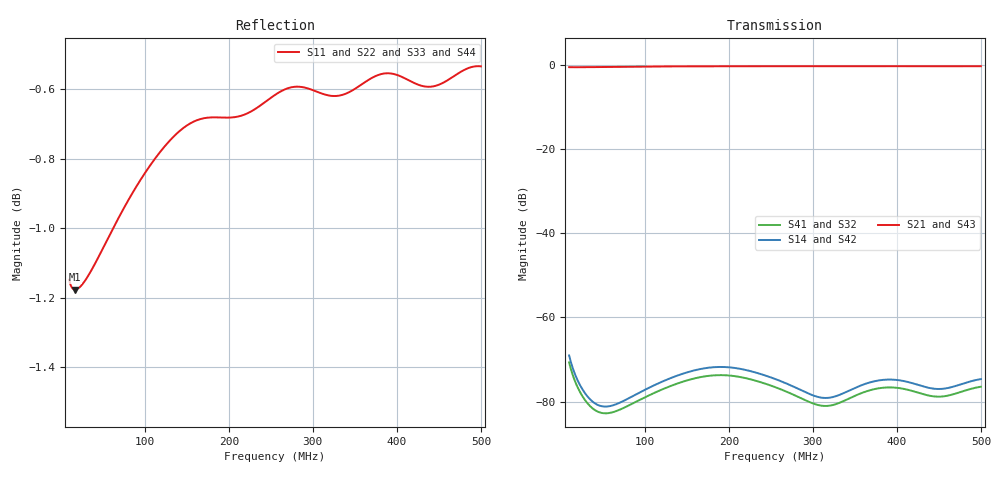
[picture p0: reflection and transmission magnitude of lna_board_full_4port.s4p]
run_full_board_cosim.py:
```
import subprocess, os

netlist_content = """# Qucs Netlist for 98 MHz Common Base LNA with Full-Board 4-Port 3D EM Co-Simulation
SUBST:Subst1 er=4.5 h=1.6mm t=35um tand=0.02 rho=1.72e-8 D=1.5e-6

# RF Ports (50 Ohm)
Pac:P1 rf_in gnd Num=1 Z=50 Ohm f=98 MHz
Pac:P2 rf_out gnd Num=2 Z=50 Ohm f=98 MHz

# Full-Board 4-Port 3D EM Model from openEMS
SPfile:PCB_FULL rf_in in_match out_match rf_out gnd File="lna_board_full_4port.s4p" Data="rectangular" Interpolator="linear" duringDC="open"

# Input BPF & Matching Network: Shunt LC Tank (L1 || C2 to GND) + Series C1 to Emitter
L:L1 in_match gnd L=22n
C:C2 in_match gnd C=27p
C:C1 in_match emitter C=91p

# Transistor Q1 MMBT5179 (Base, Collector, Emitter, Substrate)
BJT:Q1 base collector emitter gnd Is=1e-14 Nf=1 Nr=1 Ikf=0.1 Ikr=0.01 Vaf=50 Var=10 Ise=1e-14 Ne=1.5 Isc=0 Nc=2 Bf=90 Br=2 Rbm=0 Irb=0 Cje=1.2e-12 Vje=0.7 Mje=0.33 Cjc=1e-12 Vjc=0.5 Mjc=0.33 Xcjc=1 Cjs=0 Vjs=0.75 Mjs=0 Fc=0.5 Vtf=0 Tf=0.09e-9 Xtf=0 Itf=0 Tr=10e-9 Rb=10 Re=1 Rc=5 Type="npn"

# Emitter Bias & RF Choke
L:L2 emitter n_l2_2 L=470n
R:R3 n_l2_2 gnd R=200

# Base Bias & RF Grounding Bypass
Vdc:VCC vcc gnd U=5V
R:R1 vcc base R=3.9k
R:R2 base gnd R=3.3k
C:C3 base gnd C=100p
C:C4 base gnd C=1n
C:C5 base gnd C=100n

# VCC Power Decoupling
C:C11 vcc gnd C=10u
C:C12 vcc gnd C=100n

# Collector CPWG interconnect trace to tuned tank & C7 (Length = 3.0 mm)
CLIN:TL_COL collector n_c7_in Subst="Subst1" W=1.5mm S=0.35mm L=3.0mm Backside="Metal"

# Collector Tuned Tank (BPF Image Filter)
L:L3 n_c7_in vcc L=150n
C:C6 n_c7_in gnd C=6.8p
C:C7 n_c7_in out_match C=10p

# Bias Tee RF Choke & DC Decoupling at SMA Out
L:L4 rf_out n_l4_dc L=1u
C:C9 n_l4_dc gnd C=100p
C:C10 n_l4_dc gnd C=10n
R:R_BT_DUMMY n_l4_dc gnd R=100k

# Simulation Controls
.DC:DC1
.SP:SP1 Type=lin Start=10 MHz Stop=500 MHz Points=491
"""

net_file = "lna_fm_98mhz_full_board_cosim.net"
dat_file = "lna_fm_98mhz_full_board_cosim.dat"

with open(net_file, "w", newline="\n") as f:
    f.write(netlist_content)

qucsator = r"D:\Programs\Qucs-S\bin\qucsator_rf.exe"
print(f"Running qucsator on {net_file}...")
res = subprocess.run([qucsator, "-i", net_file, "-o", dat_file], capture_output=True, text=True)
print("Return code:", res.returncode)
print("STDOUT:\n", res.stdout)
if res.stderr:
    print("STDERR:\n", res.stderr)
if os.path.exists(dat_file):
    print(f"SUCCESS: {dat_file} created successfully! Size: {os.path.getsize(dat_file)} bytes")
```
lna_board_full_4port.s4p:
! Created with skrf 2.1.0 (http://scikit-rf.org).
# Hz S RI R 50.0
!freq ReS11 ImS11 ReS12 ImS12 ReS13 ImS13
! ReS14 ImS14
! ReS21 ImS21 ReS22 ImS22 ReS23 ImS23
! ReS24 ImS24
! ReS31 ImS31 ReS32 ImS32 ReS33 ImS33
! ReS34 ImS34
! ReS41 ImS41 ReS42 ImS42 ReS43 ImS43
! ReS44 ImS44
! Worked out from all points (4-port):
!   491 points, 10 MHz to 500 MHz, reference 50 ohm
!   strongest paths, dB at 10 MHz, 132 MHz, 255 MHz, 378 MHz, 500 MHz:
!     S21: -0.6, -0.4, -0.3, -0.3, -0.3
!     S43: -0.7, -0.5, -0.4, -0.4, -0.4
!     S14: -69.0, -74.3, -74.6, -75.0, -74.7
!     S42: -69.8, -74.4, -74.6, -75.1, -74.7
!     S41: -70.7, -76.2, -76.6, -76.9, -76.5
!     S32: -70.4, -76.1, -76.6, -76.8, -76.7
!   lowest |S11| = -1.2 dB at 17 MHz (marker M1), VSWR 14.78, Z = 726 + j97.6 ohm
!   |S11| at or under -10 dB: nowhere
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1e7  0.8758 0.026  0.9378 0.0134  -0.000154 -0.00026  -0.000183 -0.000302
     0.9378 0.0134  0.8758 0.026  -0.000154 -0.00026  -0.000175 -0.000273
     -0.000154 -0.00026  -0.000154 -0.00026  0.8452 0.0316  0.9223 0.0163
     -0.000155 -0.000247  -0.000175 -0.000273  0.9223 0.0163  0.8452 0.0316
1.7e7  0.8731 0.0159  0.9363 0.00805  -0.000108 -0.000143  -0.00013 -0.000166
       0.9363 0.00805  0.8731 0.0159  -0.000108 -0.000143  -0.000127 -0.000149
       -0.000108 -0.000143  -0.000108 -0.000143  0.8421 0.0194  0.9206 0.00987
       -0.00011 -0.000135  -0.000127 -0.000149  0.9206 0.00987  0.8421 0.0194
5e8  0.8627 -0.3744  0.9444 -0.1864  0.000127 7.37e-05  0.000164 8.44e-05
     0.9444 -0.1864  0.8627 -0.3744  0.000127 7.37e-05  0.000166 8.2e-05
     0.000127 7.37e-05  0.000127 7.37e-05  0.8052 -0.4587  0.9235 -0.2328
     0.00013 7.53e-05  0.000166 8.2e-05  0.9235 -0.2328  0.8052 -0.4587
